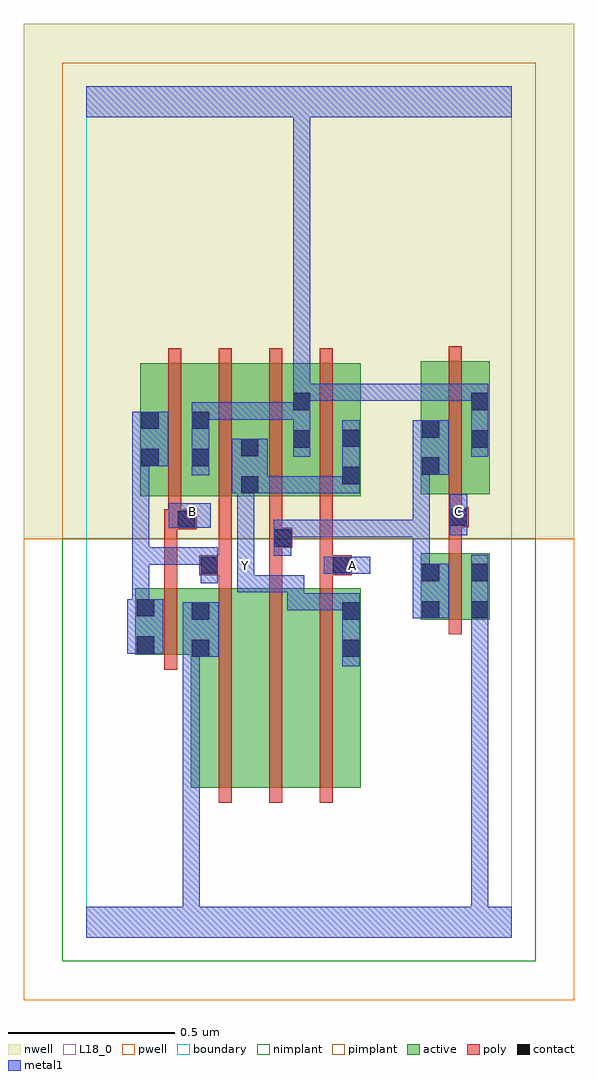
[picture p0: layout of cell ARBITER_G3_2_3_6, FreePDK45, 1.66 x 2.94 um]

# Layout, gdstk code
import gdstk
lib = gdstk.Library(unit=1e-6, precision=1e-09)
def R(c, l, rs):  # rectangles x0, y0, x1, y1
    for r in rs: c.add(gdstk.rectangle(r[:2], r[2:], *l))
def A(c, l, x, y, w, h, nx, ny, dx, dy):  # array of equal rectangles
    R(c, l, [(x+i*dx, y+j*dy, x+i*dx+w, y+j*dy+h) for i in range(nx) for j in range(ny)])
active = (1, 0)
pwell = (2, 0)
nwell = (3, 0)
nimplant = (4, 0)
pimplant = (5, 0)
poly = (9, 0)
contact = (10, 0)
metal1 = (11, 0)
L18_0 = (18, 0)
boundary = (235, 0)

arbiter_g3_2_3_6 = lib.new_cell('ARBITER_G3_2_3_6')
R(arbiter_g3_2_3_6, active, [(0.314,0.45,0.494,1.05), (0.494,0.45,0.646,1.05), (0.646,0.45,0.826,1.05), (0.766,0.45,0.826,1.05), (0.314,0.806,0.374,1.012), (0.148,0.85,0.208,1.05), (0.148,0.85,0.374,1.05), (1.006,0.956,1.066,1.156), (1.006,0.956,1.214,1.156), (1.154,0.956,1.214,1.156), (0.162,1.328,0.222,1.644), (0.162,1.328,0.374,1.728), (0.314,1.328,0.374,1.728), (0.314,1.328,0.522,1.728), (0.462,1.328,0.678,1.728), (0.618,1.328,0.826,1.728), (0.618,1.328,0.678,1.644), (0.766,1.328,0.826,1.644), (0.462,1.332,0.522,1.644), (1.006,1.334,1.214,1.734), (1.006,1.334,1.066,1.644), (1.154,1.334,1.214,1.734)])
R(arbiter_g3_2_3_6, pwell, [(-0.188,-0.188,1.468,1.2)])
R(arbiter_g3_2_3_6, nwell, [(-0.188,1.2,1.468,2.748)])
R(arbiter_g3_2_3_6, nimplant, [(-0.072,-0.072,1.352,1.2)])
R(arbiter_g3_2_3_6, pimplant, [(-0.072,1.2,1.352,2.632)])
A(arbiter_g3_2_3_6, poly, 0.398, 0.406, 0.04, 0.688, 3, 1, 0.152, 0)
A(arbiter_g3_2_3_6, poly, 0.246, 1.284, 0.04, 0.488, 4, 1, 0.152, 0)
R(arbiter_g3_2_3_6, poly, [(0.234,0.806,0.274,1.094), (1.09,0.912,1.13,1.2), (0.234,1.054,0.274,1.268), (0.398,1.054,0.438,1.13), (0.55,1.054,0.59,1.212), (0.702,1.054,0.742,1.13), (0.34,1.09,0.438,1.15), (0.702,1.09,0.798,1.15), (0.398,1.11,0.438,1.15), (0.398,1.11,0.438,1.15), (0.398,1.11,0.438,1.324), (0.702,1.11,0.742,1.15), (0.702,1.11,0.742,1.15), (0.702,1.11,0.742,1.324), (1.09,1.16,1.13,1.274), (0.55,1.172,0.59,1.212), (0.55,1.172,0.59,1.212), (0.55,1.172,0.62,1.232), (0.55,1.192,0.59,1.324), (0.234,1.228,0.274,1.268), (0.234,1.228,0.274,1.268), (0.234,1.228,0.332,1.288), (1.09,1.234,1.15,1.294), (0.246,1.248,0.286,1.324), (1.09,1.254,1.13,1.33), (1.09,1.254,1.13,1.294), (1.09,1.254,1.13,1.294), (1.09,1.29,1.13,1.778)])
R(arbiter_g3_2_3_6, contact, [(0.318,0.844,0.37,0.896), (0.77,0.844,0.822,0.896), (0.152,0.854,0.204,0.906), (0.318,0.956,0.37,1.008), (0.77,0.956,0.822,1.008), (1.01,0.96,1.062,1.012), (1.158,0.96,1.21,1.012), (0.152,0.966,0.204,1.018), (1.01,1.072,1.062,1.124), (1.158,1.072,1.21,1.124), (0.344,1.094,0.396,1.146), (0.742,1.094,0.794,1.146), (0.564,1.176,0.616,1.228), (0.276,1.232,0.328,1.284), (1.094,1.238,1.146,1.29), (0.466,1.336,0.518,1.388), (0.77,1.364,0.822,1.416), (1.01,1.392,1.062,1.444), (0.166,1.418,0.218,1.47), (0.318,1.418,0.37,1.47), (0.466,1.448,0.518,1.5), (0.622,1.474,0.674,1.526), (1.158,1.474,1.21,1.526), (0.77,1.476,0.822,1.528), (1.01,1.504,1.062,1.556), (0.166,1.53,0.218,1.582), (0.318,1.53,0.37,1.582), (0.622,1.586,0.674,1.638), (1.158,1.586,1.21,1.638)])
R(arbiter_g3_2_3_6, metal1, [(0,0,1.28,0.092), (0.29,0.04,0.342,0.092), (0.29,0.04,0.342,0.092), (0.29,0.04,0.342,0.092), (0.29,0.04,0.342,0.092), (0.29,0.04,0.342,0.092), (0.29,0.04,0.342,0.092), (0.29,0.04,0.342,0.896), (1.158,0.04,1.21,0.092), (1.158,0.04,1.21,0.092), (1.158,0.04,1.21,0.092), (1.158,0.04,1.21,0.092), (1.158,0.04,1.21,0.092), (1.158,0.04,1.21,0.092), (1.158,0.04,1.21,0.092), (1.158,0.04,1.21,0.092), (1.158,0.04,1.21,0.092), (1.158,0.04,1.21,0.092), (1.158,0.04,1.21,0.092), (1.158,0.04,1.21,0.092), (1.158,0.04,1.21,0.092), (1.158,0.04,1.21,0.092), (1.158,0.04,1.21,0.984), (0.77,0.816,0.822,1.036), (0.29,0.844,0.342,0.896), (0.29,0.844,0.342,0.896), (0.29,0.844,0.398,1.008), (0.124,0.854,0.232,1.018), (1.158,0.932,1.21,0.984), (1.158,0.932,1.21,0.984), (1.158,0.932,1.21,1.152), (0.982,0.96,1.09,1.124), (0.138,0.966,0.19,1.174), (0.604,0.984,0.656,1.036), (0.604,0.984,0.822,1.036), (0.604,0.984,0.656,1.09), (0.77,0.984,0.822,1.036), (0.77,0.984,0.822,1.036), (0.454,1.038,0.506,1.09), (0.454,1.038,0.506,1.09), (0.454,1.038,0.656,1.09), (0.454,1.038,0.506,1.174), (0.604,1.038,0.656,1.09), (0.344,1.066,0.396,1.174), (0.982,1.072,1.034,1.256), (0.714,1.094,0.854,1.146), (0.138,1.122,0.19,1.174), (0.138,1.122,0.19,1.174), (0.138,1.122,0.19,1.174), (0.138,1.122,0.19,1.174), (0.138,1.122,0.19,1.174), (0.138,1.122,0.38,1.174), (0.138,1.122,0.19,1.47), (0.328,1.122,0.38,1.174), (0.328,1.122,0.396,1.174), (0.454,1.122,0.506,1.388), (0.564,1.148,0.616,1.256), (0.564,1.204,0.712,1.256), (0.66,1.204,0.712,1.256), (0.66,1.204,0.864,1.256), (0.812,1.204,0.864,1.256), (0.812,1.204,1.034,1.256), (0.982,1.204,1.034,1.256), (0.982,1.204,1.034,1.256), (0.982,1.204,1.034,1.256), (0.982,1.204,1.034,1.256), (0.982,1.204,1.034,1.256), (0.982,1.204,1.034,1.444), (1.094,1.21,1.146,1.334), (0.248,1.232,0.374,1.306), (0.438,1.336,0.546,1.5), (0.454,1.336,0.506,1.388), (0.454,1.336,0.506,1.388), (0.494,1.336,0.546,1.388), (0.494,1.336,0.546,1.388), (0.494,1.336,0.656,1.388), (0.604,1.336,0.656,1.388), (0.604,1.336,0.822,1.388), (0.77,1.336,0.822,1.388), (0.77,1.336,0.822,1.388), (0.77,1.336,0.822,1.556), (0.318,1.39,0.37,1.61), (0.982,1.392,1.09,1.556), (0.138,1.418,0.246,1.582), (0.622,1.446,0.674,1.666), (1.158,1.446,1.21,1.666), (0.318,1.558,0.37,1.61), (0.318,1.558,0.37,1.61), (0.318,1.558,0.546,1.61), (0.494,1.558,0.546,1.61), (0.494,1.558,0.546,1.61), (0.494,1.558,0.546,1.61), (0.494,1.558,0.674,1.61), (0.622,1.614,0.674,1.666), (0.622,1.614,0.674,1.666), (0.622,1.614,0.674,1.666), (0.622,1.614,0.674,1.666), (0.622,1.614,0.864,1.666), (0.622,1.614,0.674,2.52), (0.812,1.614,0.864,1.666), (0.812,1.614,0.864,1.666), (0.812,1.614,0.864,1.666), (0.812,1.614,0.974,1.666), (0.922,1.614,0.974,1.666), (0.922,1.614,1.21,1.666), (1.158,1.614,1.21,1.666), (1.158,1.614,1.21,1.666), (0,2.468,1.28,2.56), (0.622,2.468,0.674,2.52), (0.622,2.468,0.674,2.52), (0.622,2.468,0.674,2.52), (0.622,2.468,0.674,2.52), (0.622,2.468,0.674,2.52), (0.622,2.468,0.674,2.52), (0.622,2.468,0.674,2.52), (0.622,2.468,0.674,2.52), (0.622,2.468,0.674,2.52), (0.622,2.468,0.674,2.52), (0.622,2.468,0.674,2.52), (0.622,2.468,0.674,2.52)])
R(arbiter_g3_2_3_6, L18_0, [(0,0,1.28,0.092), (0.29,0.04,0.342,0.092), (0.29,0.04,0.342,0.092), (0.29,0.04,0.342,0.092), (0.29,0.04,0.342,0.092), (0.29,0.04,0.342,0.092), (0.29,0.04,0.342,0.092), (0.29,0.04,0.342,0.896), (1.158,0.04,1.21,0.092), (1.158,0.04,1.21,0.092), (1.158,0.04,1.21,0.092), (1.158,0.04,1.21,0.092), (1.158,0.04,1.21,0.092), (1.158,0.04,1.21,0.092), (1.158,0.04,1.21,0.092), (1.158,0.04,1.21,0.092), (1.158,0.04,1.21,0.092), (1.158,0.04,1.21,0.092), (1.158,0.04,1.21,0.092), (1.158,0.04,1.21,0.092), (1.158,0.04,1.21,0.092), (1.158,0.04,1.21,0.092), (1.158,0.04,1.21,0.984), (0.77,0.816,0.822,1.036), (0.29,0.844,0.342,0.896), (0.29,0.844,0.342,0.896), (0.29,0.844,0.398,1.008), (1.158,0.932,1.21,0.984), (1.158,0.932,1.21,0.984), (1.158,0.932,1.21,1.152), (0.604,0.984,0.656,1.036), (0.604,0.984,0.656,1.09), (0.604,0.984,0.822,1.036), (0.77,0.984,0.822,1.036), (0.77,0.984,0.822,1.036), (0.454,1.038,0.506,1.09), (0.454,1.038,0.506,1.09), (0.454,1.038,0.506,1.174), (0.454,1.038,0.656,1.09), (0.604,1.038,0.656,1.09), (0.454,1.094,0.506,1.146), (0.714,1.094,0.854,1.146), (0.774,1.094,0.826,1.146), (0.454,1.122,0.506,1.388), (1.094,1.21,1.146,1.334), (0.248,1.232,0.374,1.306), (0.294,1.254,0.346,1.306), (1.094,1.254,1.146,1.306), (0.438,1.336,0.546,1.5), (0.454,1.336,0.506,1.388), (0.454,1.336,0.506,1.388), (0.494,1.336,0.546,1.388), (0.494,1.336,0.546,1.388), (0.494,1.336,0.656,1.388), (0.604,1.336,0.656,1.388), (0.604,1.336,0.822,1.388), (0.77,1.336,0.822,1.388), (0.77,1.336,0.822,1.388), (0.77,1.336,0.822,1.556), (0.318,1.39,0.37,1.61), (0.622,1.446,0.674,1.666), (1.158,1.446,1.21,1.666), (0.318,1.558,0.37,1.61), (0.318,1.558,0.37,1.61), (0.318,1.558,0.546,1.61), (0.494,1.558,0.546,1.61), (0.494,1.558,0.546,1.61), (0.494,1.558,0.546,1.61), (0.494,1.558,0.674,1.61), (0.622,1.614,0.674,1.666), (0.622,1.614,0.674,1.666), (0.622,1.614,0.674,1.666), (0.622,1.614,0.674,1.666), (0.622,1.614,0.674,2.52), (0.622,1.614,0.864,1.666), (0.812,1.614,0.864,1.666), (0.812,1.614,0.864,1.666), (0.812,1.614,0.864,1.666), (0.812,1.614,0.974,1.666), (0.922,1.614,0.974,1.666), (0.922,1.614,1.21,1.666), (1.158,1.614,1.21,1.666), (1.158,1.614,1.21,1.666), (0,2.468,1.28,2.56), (0.622,2.468,0.674,2.52), (0.622,2.468,0.674,2.52), (0.622,2.468,0.674,2.52), (0.622,2.468,0.674,2.52), (0.622,2.468,0.674,2.52), (0.622,2.468,0.674,2.52), (0.622,2.468,0.674,2.52), (0.622,2.468,0.674,2.52), (0.622,2.468,0.674,2.52), (0.622,2.468,0.674,2.52), (0.622,2.468,0.674,2.52), (0.622,2.468,0.674,2.52)])
R(arbiter_g3_2_3_6, boundary, [(0,0,1.28,2.56)])
arbiter_g3_2_3_6.add(gdstk.Label('A', (0.8,1.12), layer=11, texttype=0))
arbiter_g3_2_3_6.add(gdstk.Label('B', (0.32,1.28), layer=11, texttype=0))
arbiter_g3_2_3_6.add(gdstk.Label('C', (1.12,1.28), layer=11, texttype=0))
arbiter_g3_2_3_6.add(gdstk.Label('Y', (0.48,1.12), layer=11, texttype=0))

lib.write_gds('ARBITER_G3_2_3_6.gds')
